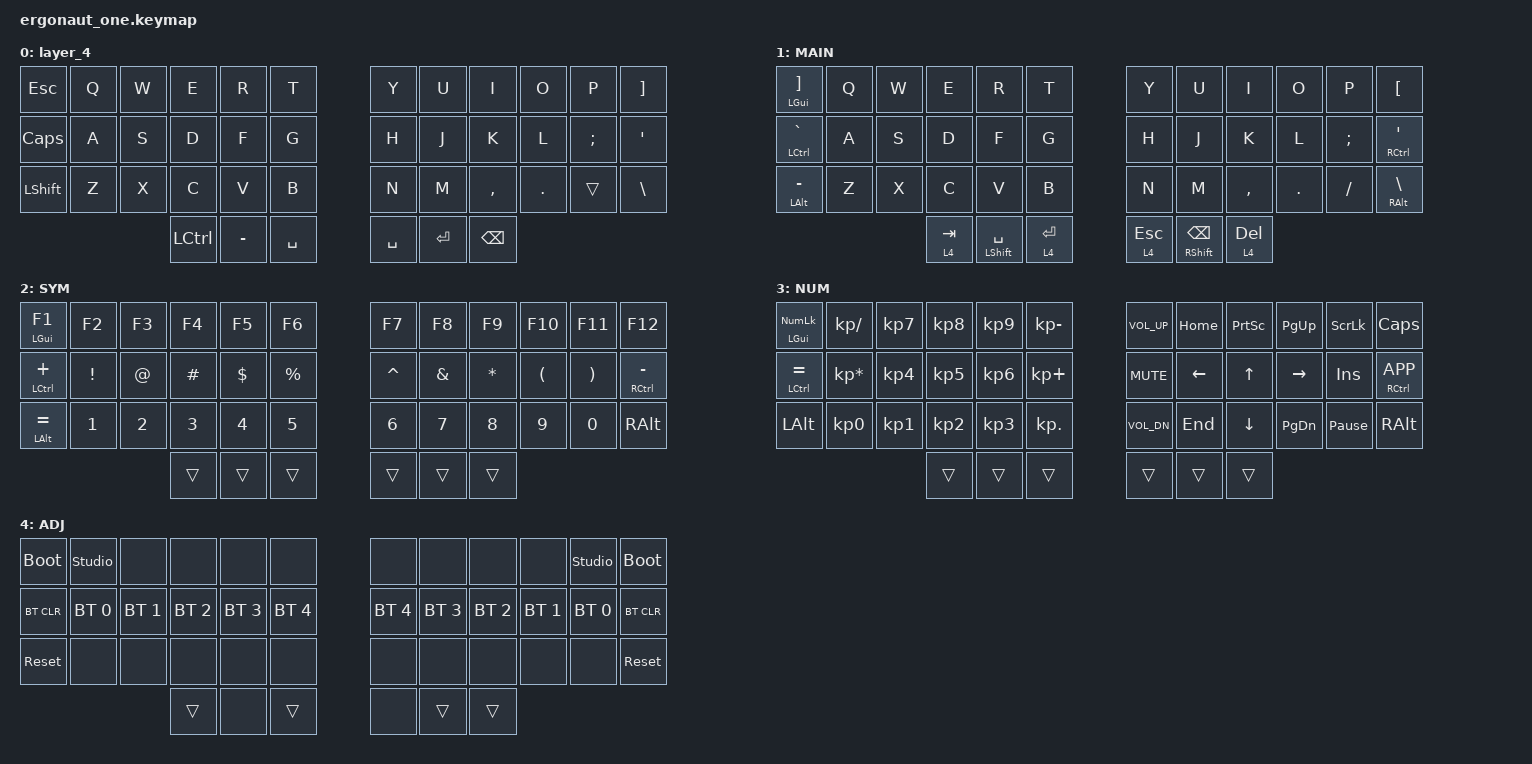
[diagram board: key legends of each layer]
#include <behaviors.dtsi>
#include <dt-bindings/zmk/bt.h>
#include <dt-bindings/zmk/keys.h>

#define DEF 0
#define LWR 1
#define RSE 2
#define ADJ 3

/ {
    conditional_layers {
        compatible = "zmk,conditional-layers";

        tri-layer {
            if-layers = <4 4>;
            then-layer = <4>;
        };
    };

    keymap {
        compatible = "zmk,keymap";

        layer_4 {
            bindings = <
&kp ESC    &kp Q  &kp W  &kp E      &kp R      &kp T      &kp Y      &kp U      &kp I      &kp O    &kp P     &kp RBKT
&kp CAPS   &kp A  &kp S  &kp D      &kp F      &kp G      &kp H      &kp J      &kp K      &kp L    &kp SEMI  &kp APOS
&kp LSHFT  &kp Z  &kp X  &kp C      &kp V      &kp B      &kp N      &kp M      &kp COMMA  &kp DOT  &trans    &kp BSLH
                         &kp LCTRL  &kp MINUS  &kp SPACE  &kp SPACE  &kp ENTER  &kp BSPC
            >;
        };

        default_layer {
            display-name = "MAIN";
            bindings = <
&mt LGUI RBKT    &kp Q  &kp W  &kp E      &kp R            &kp T      &kp Y      &kp U           &kp I      &kp O    &kp P     &kp LBKT
&mt LCTRL GRAVE  &kp A  &kp S  &kp D      &kp F            &kp G      &kp H      &kp J           &kp K      &kp L    &kp SEMI  &mt RCTRL SQT
&mt LALT MINUS   &kp Z  &kp X  &kp C      &kp V            &kp B      &kp N      &kp M           &kp COMMA  &kp DOT  &kp FSLH  &mt RALT BSLH
                               &lt 4 TAB  &mt LSHFT SPACE  &lt 4 RET  &lt 4 ESC  &mt RSHFT BSPC  &lt 4 DEL
            >;
        };

        lower_layer {
            display-name = "SYM";
            bindings = <
&mt LGUI F1     &kp F2    &kp F3  &kp F4    &kp F5    &kp F6     &kp F7     &kp F8    &kp F9    &kp F10   &kp F11   &kp F12
&mt LCTRL PLUS  &kp EXCL  &kp AT  &kp HASH  &kp DLLR  &kp PRCNT  &kp CARET  &kp AMPS  &kp STAR  &kp LPAR  &kp RPAR  &mt RCTRL MINUS
&mt LALT EQUAL  &kp N1    &kp N2  &kp N3    &kp N4    &kp N5     &kp N6     &kp N7    &kp N8    &kp N9    &kp N0    &kp RALT
                                  &trans    &trans    &trans     &trans     &trans    &trans
            >;
        };

        raise_layer {
            display-name = "NUM";
            bindings = <
&mt LGUI KP_NUM  &kp KP_SLASH     &kp KP_N7  &kp KP_N8  &kp KP_N9  &kp KP_MINUS  &kp C_VOL_UP  &kp HOME  &kp PSCRN  &kp PG_UP  &kp SLCK         &kp CLCK
&mt LCTRL EQUAL  &kp KP_MULTIPLY  &kp KP_N4  &kp KP_N5  &kp KP_N6  &kp KP_PLUS   &kp C_MUTE    &kp LEFT  &kp UP     &kp RIGHT  &kp INS          &mt RCTRL K_APP
&kp LALT         &kp KP_N0        &kp KP_N1  &kp KP_N2  &kp KP_N3  &kp KP_DOT    &kp C_VOL_DN  &kp END   &kp DOWN   &kp PG_DN  &kp PAUSE_BREAK  &kp RALT
                                             &trans     &trans     &trans        &trans        &trans    &trans
            >;
        };

        adjust_layer {
            display-name = "ADJ";
            bindings = <
&bootloader  &studio_unlock  &none         &none         &none         &none         &none         &none         &none         &none         &studio_unlock  &bootloader
&bt BT_CLR   &bt BT_SEL 0    &bt BT_SEL 1  &bt BT_SEL 2  &bt BT_SEL 3  &bt BT_SEL 4  &bt BT_SEL 4  &bt BT_SEL 3  &bt BT_SEL 2  &bt BT_SEL 1  &bt BT_SEL 0    &bt BT_CLR
&sys_reset   &none           &none         &none         &none         &none         &none         &none         &none         &none         &none           &sys_reset
                                           &trans        &none         &trans        &none         &trans        &trans
            >;
        };
    };
};
